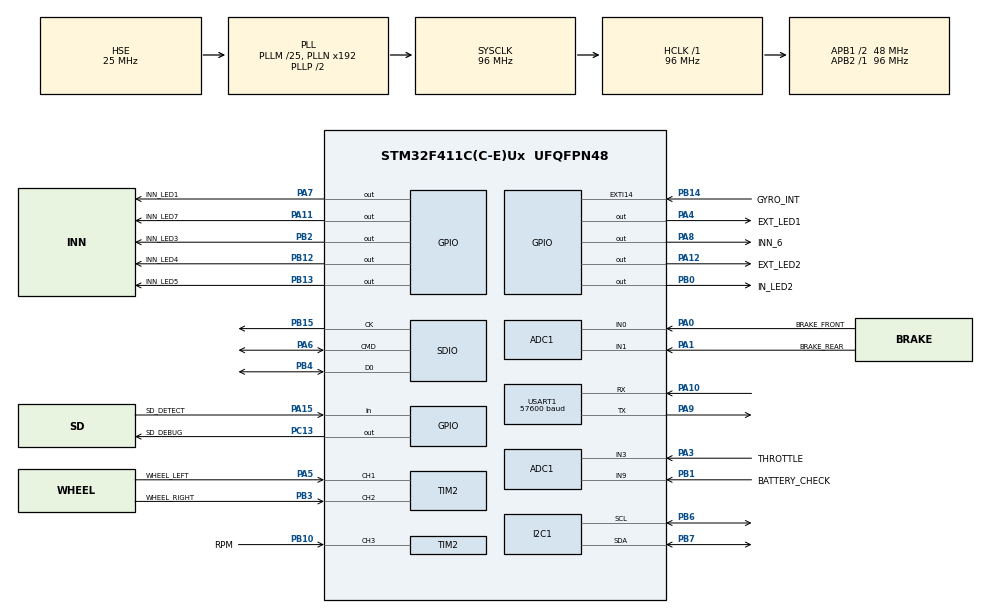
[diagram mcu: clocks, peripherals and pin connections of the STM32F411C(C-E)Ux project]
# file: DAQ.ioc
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ADC1.Channel-0\#ChannelRegularConversion=ADC_CHANNEL_0
ADC1.Channel-1\#ChannelRegularConversion=ADC_CHANNEL_1
ADC1.Channel-2\#ChannelRegularConversion=ADC_CHANNEL_3
ADC1.Channel-3\#ChannelRegularConversion=ADC_CHANNEL_9
ADC1.ContinuousConvMode=ENABLE
ADC1.DMAContinuousRequests=ENABLE
ADC1.EOCSelection=ADC_EOC_SEQ_CONV
ADC1.NbrOfConversion=4
ADC1.NbrOfConversionFlag=1
ADC1.Rank-0\#ChannelRegularConversion=1
ADC1.Rank-1\#ChannelRegularConversion=2
ADC1.Rank-2\#ChannelRegularConversion=3
ADC1.Rank-3\#ChannelRegularConversion=4
ADC1.SamplingTime-0\#ChannelRegularConversion=ADC_SAMPLETIME_144CYCLES
ADC1.SamplingTime-1\#ChannelRegularConversion=ADC_SAMPLETIME_144CYCLES
ADC1.SamplingTime-2\#ChannelRegularConversion=ADC_SAMPLETIME_144CYCLES
ADC1.SamplingTime-3\#ChannelRegularConversion=ADC_SAMPLETIME_144CYCLES
ADC1.ScanConvMode=ENABLE
ADC1.master=1
Dma.ADC1.0.Direction=DMA_PERIPH_TO_MEMORY
Dma.ADC1.0.FIFOMode=DMA_FIFOMODE_DISABLE
Dma.ADC1.0.Instance=DMA2_Stream0
Dma.ADC1.0.MemDataAlignment=DMA_MDATAALIGN_HALFWORD
Dma.ADC1.0.MemInc=DMA_MINC_ENABLE
Dma.ADC1.0.Mode=DMA_CIRCULAR
Dma.ADC1.0.PeriphDataAlignment=DMA_PDATAALIGN_HALFWORD
Dma.ADC1.0.PeriphInc=DMA_PINC_DISABLE
Dma.ADC1.0.Priority=DMA_PRIORITY_MEDIUM
Dma.Request0=ADC1
Dma.Request1=SDIO_RX
Dma.Request2=SDIO_TX
Dma.Request3=USART1_RX
Dma.Request4=USART1_TX
Dma.SDIO_RX.1.Direction=DMA_PERIPH_TO_MEMORY
Dma.SDIO_RX.1.FIFOMode=DMA_FIFOMODE_ENABLE
Dma.SDIO_RX.1.FIFOThreshold=DMA_FIFO_THRESHOLD_FULL
Dma.SDIO_RX.1.Instance=DMA2_Stream3
Dma.SDIO_RX.1.MemBurst=DMA_MBURST_INC4
Dma.SDIO_RX.1.MemDataAlignment=DMA_MDATAALIGN_WORD
Dma.SDIO_RX.1.MemInc=DMA_MINC_ENABLE
Dma.SDIO_RX.1.Mode=DMA_PFCTRL
Dma.SDIO_RX.1.PeriphBurst=DMA_PBURST_INC4
Dma.SDIO_RX.1.PeriphDataAlignment=DMA_PDATAALIGN_WORD
Dma.SDIO_RX.1.PeriphInc=DMA_PINC_DISABLE
Dma.SDIO_RX.1.Priority=DMA_PRIORITY_HIGH
Dma.SDIO_TX.2.Direction=DMA_MEMORY_TO_PERIPH
Dma.SDIO_TX.2.FIFOMode=DMA_FIFOMODE_ENABLE
Dma.SDIO_TX.2.FIFOThreshold=DMA_FIFO_THRESHOLD_FULL
Dma.SDIO_TX.2.Instance=DMA2_Stream6
Dma.SDIO_TX.2.MemBurst=DMA_MBURST_INC4
Dma.SDIO_TX.2.MemDataAlignment=DMA_MDATAALIGN_WORD
Dma.SDIO_TX.2.MemInc=DMA_MINC_ENABLE
Dma.SDIO_TX.2.Mode=DMA_PFCTRL
Dma.SDIO_TX.2.PeriphBurst=DMA_PBURST_INC4
Dma.SDIO_TX.2.PeriphDataAlignment=DMA_PDATAALIGN_WORD
Dma.SDIO_TX.2.PeriphInc=DMA_PINC_DISABLE
Dma.SDIO_TX.2.Priority=DMA_PRIORITY_HIGH
Dma.USART1_RX.3.Direction=DMA_PERIPH_TO_MEMORY
Dma.USART1_RX.3.FIFOMode=DMA_FIFOMODE_DISABLE
Dma.USART1_RX.3.Instance=DMA2_Stream2
Dma.USART1_RX.3.MemDataAlignment=DMA_MDATAALIGN_BYTE
Dma.USART1_RX.3.MemInc=DMA_MINC_ENABLE
Dma.USART1_RX.3.Mode=DMA_NORMAL
Dma.USART1_RX.3.PeriphDataAlignment=DMA_PDATAALIGN_BYTE
Dma.USART1_RX.3.PeriphInc=DMA_PINC_DISABLE
Dma.USART1_RX.3.Priority=DMA_PRIORITY_LOW
Dma.USART1_TX.4.Direction=DMA_MEMORY_TO_PERIPH
Dma.USART1_TX.4.FIFOMode=DMA_FIFOMODE_DISABLE
Dma.USART1_TX.4.Instance=DMA2_Stream7
Dma.USART1_TX.4.MemDataAlignment=DMA_MDATAALIGN_BYTE
Dma.USART1_TX.4.MemInc=DMA_MINC_ENABLE
Dma.USART1_TX.4.Mode=DMA_NORMAL
Dma.USART1_TX.4.PeriphDataAlignment=DMA_PDATAALIGN_BYTE
Dma.USART1_TX.4.PeriphInc=DMA_PINC_DISABLE
Dma.USART1_TX.4.Priority=DMA_PRIORITY_LOW
FATFS._FS_REENTRANT=0
FATFS._USE_FASTSEEK=0
FATFS._USE_LFN=1
FATFS._USE_MKFS=0
FREERTOS.Tasks01=defaultTask,24,128,StartDefaultTask,Default,NULL,Dynamic,NULL,NULL;AcquisitionTask,40,256,StartAcquisitionTask,Default,NULL,Dynamic,NULL,NULL;LoggerTask,24,512,StartLoggerTask,Default,NULL,Dynamic,NULL,NULL;DisplayTask,8,256,StartDisplayTask,Default,NULL,Dynamic,NULL,NULL;InnovationTask,16,256,StartInnovationTask,Default,NULL,Dynamic,NULL,NULL
FREERTOS.configCHECK_FOR_STACK_OVERFLOW=2
FREERTOS.configENABLE_FPU=1
FREERTOS.configUSE_MALLOC_FAILED_HOOK=1
I2C1.GeneralCallMode=I2C_GENERALCALL_DISABLE
I2C1.I2C_Mode=I2C_Standard
Mcu.Family=STM32F4
Mcu.Name=STM32F411C(C-E)Ux
Mcu.Package=UFQFPN48
NVIC.DMA2_Stream0_IRQn=true\:5\:0\:false\:false\:true\:true\:false\:true\:true
NVIC.DMA2_Stream2_IRQn=true\:5\:0\:false\:false\:true\:true\:false\:true\:true
NVIC.DMA2_Stream3_IRQn=true\:5\:0\:false\:false\:true\:true\:false\:true\:true
NVIC.DMA2_Stream6_IRQn=true\:5\:0\:false\:false\:true\:true\:false\:true\:true
NVIC.DMA2_Stream7_IRQn=true\:5\:0\:false\:false\:true\:true\:false\:true\:true
NVIC.EXTI15_10_IRQn=true\:5\:0\:true\:false\:true\:false\:true\:true\:true
NVIC.I2C1_ER_IRQn=true\:5\:0\:false\:false\:true\:true\:true\:true\:true
NVIC.I2C1_EV_IRQn=true\:5\:0\:false\:false\:true\:true\:true\:true\:true
NVIC.PriorityGroup=NVIC_PRIORITYGROUP_4
NVIC.SDIO_IRQn=true\:5\:0\:false\:false\:true\:true\:true\:true\:true
NVIC.TIM1_UP_TIM10_IRQn=true\:15\:0\:false\:false\:true\:false\:false\:true\:true
NVIC.TIM2_IRQn=true\:5\:0\:false\:false\:true\:true\:true\:true\:true
NVIC.TimeBase=TIM1_UP_TIM10_IRQn
NVIC.TimeBaseIP=TIM1
PA0-WKUP.GPIO_Label=BRAKE_FRONT
PA0-WKUP.Signal=ADCx_IN0
PA1.GPIO_Label=BRAKE_REAR
PA1.Signal=ADCx_IN1
PA10.Mode=Asynchronous
PA10.Signal=USART1_RX
PA11.GPIO_Label=INN_LED7
PA11.Signal=GPIO_Output
PA12.GPIO_Label=EXT_LED2
PA12.Signal=GPIO_Output
PA13.Mode=Serial_Wire
PA13.Signal=SYS_JTMS-SWDIO
PA14.Mode=Serial_Wire
PA14.Signal=SYS_JTCK-SWCLK
PA15.GPIO_Label=SD_DETECT
PA15.GPIO_PuPd=GPIO_PULLDOWN
PA15.Signal=GPIO_Input
PA3.GPIO_Label=THROTTLE
PA3.Signal=ADCx_IN3
PA4.GPIO_Label=EXT_LED1
PA4.Signal=GPIO_Output
PA5.GPIO_Label=WHEEL_LEFT
PA5.Signal=S_TIM2_CH1_ETR
PA6.Mode=SD_1_bit
PA6.Signal=SDIO_CMD
PA7.GPIO_Label=INN_LED1
PA7.Signal=GPIO_Output
PA8.GPIO_Label=INN_6
PA8.Signal=GPIO_Output
PA9.Mode=Asynchronous
PA9.Signal=USART1_TX
PB0.GPIO_Label=IN_LED2
PB0.Signal=GPIO_Output
PB1.GPIO_Label=BATTERY_CHECK
PB1.Signal=ADCx_IN9
PB10.GPIO_Label=RPM
PB10.Signal=S_TIM2_CH3
PB12.GPIO_Label=INN_LED4
PB12.Signal=GPIO_Output
PB13.GPIO_Label=INN_LED5
PB13.Signal=GPIO_Output
PB14.GPIO_Label=GYRO_INT
PB14.Signal=GPXTI14
PB15.Mode=SD_1_bit
PB15.Signal=SDIO_CK
PB2.GPIO_Label=INN_LED3
PB2.Signal=GPIO_Output
PB3.GPIO_Label=WHEEL_RIGHT
PB3.Signal=S_TIM2_CH2
PB4.Mode=SD_1_bit
PB4.Signal=SDIO_D0
PB6.Mode=I2C
PB6.Signal=I2C1_SCL
PB7.Mode=I2C
PB7.Signal=I2C1_SDA
PC13-ANTI_TAMP.GPIO_Label=SD_DEBUG
PC13-ANTI_TAMP.Signal=GPIO_Output
PC14-OSC32_IN.Mode=LSE-External-Oscillator
PC14-OSC32_IN.Signal=RCC_OSC32_IN
PC15-OSC32_OUT.Mode=LSE-External-Oscillator
PC15-OSC32_OUT.Signal=RCC_OSC32_OUT
PH0\ -\ OSC_IN.Mode=HSE-External-Oscillator
PH0\ -\ OSC_IN.Signal=RCC_OSC_IN
PH1\ -\ OSC_OUT.Mode=HSE-External-Oscillator
PH1\ -\ OSC_OUT.Signal=RCC_OSC_OUT
ProjectManager.HeapSize=0x1000
ProjectManager.StackSize=0x1000
ProjectManager.TargetToolchain=STM32CubeIDE
RCC.48MHZClocksFreq_Value=48000000
RCC.AHBFreq_Value=96000000
RCC.APB1CLKDivider=RCC_HCLK_DIV2
RCC.APB1Freq_Value=48000000
RCC.APB1TimFreq_Value=96000000
RCC.APB2Freq_Value=96000000
RCC.APB2TimFreq_Value=96000000
RCC.CortexFreq_Value=96000000
RCC.HCLKFreq_Value=96000000
RCC.HSE_VALUE=25000000
RCC.HSI_VALUE=16000000
RCC.PLLM=25
RCC.PLLSourceVirtual=RCC_PLLSOURCE_HSE
RCC.RCC_RTC_Clock_Source=RCC_RTCCLKSOURCE_LSE
RCC.RCC_RTC_Clock_SourceVirtual=RCC_RTCCLKSOURCE_LSE
RCC.SYSCLKFreq_VALUE=96000000
RCC.SYSCLKSource=RCC_SYSCLKSOURCE_PLLCLK
RCC.VCOOutputFreq_Value=192000000
SDIO.ClockDiv=118
SH.ADCx_IN0.0=ADC1_IN0,IN0
SH.ADCx_IN1.0=ADC1_IN1,IN1
SH.ADCx_IN3.0=ADC1_IN3,IN3
SH.ADCx_IN9.0=ADC1_IN9,IN9
SH.S_TIM2_CH1_ETR.0=TIM2_CH1,Input_Capture1_from_TI1
SH.S_TIM2_CH2.0=TIM2_CH2,Input_Capture2_from_TI2
SH.S_TIM2_CH3.0=TIM2_CH3,Input_Capture3_from_TI3
TIM2.Channel-Input_Capture1_from_TI1=TIM_CHANNEL_1
TIM2.Channel-Input_Capture2_from_TI2=TIM_CHANNEL_2
TIM2.Channel-Input_Capture3_from_TI3=TIM_CHANNEL_3
TIM2.ICFilter_CH1=8
TIM2.ICFilter_CH2=8
TIM2.ICFilter_CH3=8
TIM2.ICPolarity_CH1=TIM_INPUTCHANNELPOLARITY_FALLING
TIM2.ICPolarity_CH2=TIM_INPUTCHANNELPOLARITY_FALLING
TIM2.ICPolarity_CH3=TIM_INPUTCHANNELPOLARITY_FALLING
USART1.BaudRate=57600
USART1.VirtualMode=VM_ASYNC
VP_FATFS_VS_SDIO.Mode=SDIO
VP_FREERTOS_VS_CMSIS_V2.Mode=CMSIS_V2
VP_RTC_VS_RTC_Activate.Mode=RTC_Enabled
VP_RTC_VS_RTC_Calendar.Mode=RTC_Calendar
VP_SYS_VS_tim1.Mode=TIM1
VP_TIM2_VS_ClockSourceINT.Mode=Internal
board=custom

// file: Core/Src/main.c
/* USER CODE BEGIN Header */
/**
  ******************************************************************************
  * @file           : main.c
  * @brief          : Main program body
  ******************************************************************************
  * @attention
  *
  * Copyright (c) 2026 STMicroelectronics.
  * All rights reserved.
  *
  * This software is licensed under terms that can be found in the LICENSE file
  * in the root directory of this software component.
  * If no LICENSE file comes with this software, it is provided AS-IS.
  *
  ******************************************************************************
  */
/* USER CODE END Header */
#include "main.h"
#include "cmsis_os.h"
#include "adc.h"
#include "dma.h"
#include "fatfs.h"
#include "i2c.h"
#include "rtc.h"
#include "sdio.h"
#include "tim.h"
#include "usart.h"
#include "gpio.h"

/* USER CODE BEGIN Includes */
#include "shared_data.h"
#include "health.h"
#include "acquisition.h"
#include "logger.h"
#include "display.h"
#include "innovation.h"
/* USER CODE END Includes */

void SystemClock_Config(void);
void MX_FREERTOS_Init(void);

int main(void)
{

  /* MCU Configuration--------------------------------------------------------*/

  /* Reset of all peripherals, Initializes the Flash interface and the Systick. */
  HAL_Init();

  /* Configure the system clock */
  SystemClock_Config();

  /* Initialize all configured peripherals */
  MX_GPIO_Init();
  MX_DMA_Init();
  MX_ADC1_Init();
  MX_I2C1_Init();
  MX_SDIO_SD_Init();
  MX_TIM2_Init();
  MX_USART1_UART_Init();
  MX_FATFS_Init();
  MX_RTC_Init();
  /* USER CODE BEGIN 2 */
  SharedData_Init();
  Health_Init();

  Acquisition_Init();
  Logger_Init();
  Innovation_Init();
  /* USER CODE END 2 */

  /* Init scheduler */
  osKernelInitialize();  /* Call init function for freertos objects (in cmsis_os2.c) */
  MX_FREERTOS_Init();

  /* Start scheduler */
  osKernelStart();

  /* We should never get here as control is now taken by the scheduler */

  /* Infinite loop */
  while (1)
  {

  }
}

void SystemClock_Config(void)
{
  RCC_OscInitTypeDef RCC_OscInitStruct = {0};
  RCC_ClkInitTypeDef RCC_ClkInitStruct = {0};

  /** Configure the main internal regulator output voltage
  */
  __HAL_RCC_PWR_CLK_ENABLE();
  __HAL_PWR_VOLTAGESCALING_CONFIG(PWR_REGULATOR_VOLTAGE_SCALE1);

  /** Initializes the RCC Oscillators according to the specified parameters
  * in the RCC_OscInitTypeDef structure.
  */
  RCC_OscInitStruct.OscillatorType = RCC_OSCILLATORTYPE_HSE|RCC_OSCILLATORTYPE_LSE;
  RCC_OscInitStruct.HSEState = RCC_HSE_ON;
  RCC_OscInitStruct.LSEState = RCC_LSE_ON;
  RCC_OscInitStruct.PLL.PLLState = RCC_PLL_ON;
  RCC_OscInitStruct.PLL.PLLSource = RCC_PLLSOURCE_HSE;
  RCC_OscInitStruct.PLL.PLLM = 25;
  RCC_OscInitStruct.PLL.PLLN = 192;
  RCC_OscInitStruct.PLL.PLLP = RCC_PLLP_DIV2;
  RCC_OscInitStruct.PLL.PLLQ = 4;
  if (HAL_RCC_OscConfig(&RCC_OscInitStruct) != HAL_OK)
  {
    Error_Handler();
  }

  /** Initializes the CPU, AHB and APB buses clocks
  */
  RCC_ClkInitStruct.ClockType = RCC_CLOCKTYPE_HCLK|RCC_CLOCKTYPE_SYSCLK
                              |RCC_CLOCKTYPE_PCLK1|RCC_CLOCKTYPE_PCLK2;
  RCC_ClkInitStruct.SYSCLKSource = RCC_SYSCLKSOURCE_PLLCLK;
  RCC_ClkInitStruct.AHBCLKDivider = RCC_SYSCLK_DIV1;
  RCC_ClkInitStruct.APB1CLKDivider = RCC_HCLK_DIV2;
  RCC_ClkInitStruct.APB2CLKDivider = RCC_HCLK_DIV1;

  if (HAL_RCC_ClockConfig(&RCC_ClkInitStruct, FLASH_LATENCY_3) != HAL_OK)
  {
    Error_Handler();
  }
}

void HAL_TIM_PeriodElapsedCallback(TIM_HandleTypeDef *htim)
{
  if (htim->Instance == TIM1)
  {
    HAL_IncTick();
  }
}

void Error_Handler(void)
{
  __disable_irq();
  while (1)
  {
  }
}

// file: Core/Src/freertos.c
/* USER CODE BEGIN Header */
/**
  ******************************************************************************
  * File Name          : freertos.c
  * Description        : Code for freertos applications
  ******************************************************************************
  * @attention
  *
  * Copyright (c) 2026 STMicroelectronics.
  * All rights reserved.
  *
  * This software is licensed under terms that can be found in the LICENSE file
  * in the root directory of this software component.
  * If no LICENSE file comes with this software, it is provided AS-IS.
  *
  ******************************************************************************
  */
/* USER CODE END Header */

#include "FreeRTOS.h"
#include "task.h"
#include "main.h"
#include "cmsis_os.h"

/* USER CODE BEGIN Includes */
#include "app_config.h"
#include "health.h"
#include "acquisition.h"
#include "logger.h"
#include "display.h"
#include "innovation.h"
#include "i2c_manager.h"
/* USER CODE END Includes */

/* Definitions for defaultTask */
osThreadId_t defaultTaskHandle;
const osThreadAttr_t defaultTask_attributes = {
  .name = "defaultTask",
  .stack_size = 128 * 4,
  .priority = (osPriority_t) osPriorityNormal,
};
/* Definitions for AcquisitionTask */
osThreadId_t AcquisitionTaskHandle;
const osThreadAttr_t AcquisitionTask_attributes = {
  .name = "AcquisitionTask",
  .stack_size = 256 * 4,
  .priority = (osPriority_t) osPriorityHigh,
};
/* Definitions for LoggerTask */
osThreadId_t LoggerTaskHandle;
const osThreadAttr_t LoggerTask_attributes = {
  .name = "LoggerTask",
  .stack_size = 512 * 4,
  .priority = (osPriority_t) osPriorityNormal,
};
/* Definitions for DisplayTask */
osThreadId_t DisplayTaskHandle;
const osThreadAttr_t DisplayTask_attributes = {
  .name = "DisplayTask",
  .stack_size = 256 * 4,
  .priority = (osPriority_t) osPriorityLow,
};
/* Definitions for InnovationTask */
osThreadId_t InnovationTaskHandle;
const osThreadAttr_t InnovationTask_attributes = {
  .name = "InnovationTask",
  .stack_size = 256 * 4,
  .priority = (osPriority_t) osPriorityBelowNormal,
};

void StartDefaultTask(void *argument);
void StartAcquisitionTask(void *argument);
void StartLoggerTask(void *argument);
void StartDisplayTask(void *argument);
void StartInnovationTask(void *argument);

void MX_FREERTOS_Init(void); /* (MISRA C 2004 rule 8.1) */

/* Hook prototypes */
void vApplicationStackOverflowHook(xTaskHandle xTask, signed char *pcTaskName);
void vApplicationMallocFailedHook(void);

/* USER CODE BEGIN 4 */
void vApplicationStackOverflowHook(xTaskHandle xTask, signed char *pcTaskName)
{
   /* Run time stack overflow checking is performed if
   configCHECK_FOR_STACK_OVERFLOW is defined to 1 or 2. This hook function is
   called if a stack overflow is detected. */
}
/* USER CODE END 4 */

/* USER CODE BEGIN 5 */
void vApplicationMallocFailedHook(void)
{
   /* vApplicationMallocFailedHook() will only be called if
   configUSE_MALLOC_FAILED_HOOK is set to 1 in FreeRTOSConfig.h. It is a hook
   function that will get called if a call to pvPortMalloc() fails.
   pvPortMalloc() is called internally by the kernel whenever a task, queue,
   timer or semaphore is created. It is also called by various parts of the
   demo application. If heap_1.c or heap_2.c are used, then the size of the
   heap available to pvPortMalloc() is defined by configTOTAL_HEAP_SIZE in
   FreeRTOSConfig.h, and the xPortGetFreeHeapSize() API function can be used
   to query the size of free heap space that remains (although it does not
   provide information on how the remaining heap might be fragmented). */
}
/* USER CODE END 5 */

void MX_FREERTOS_Init(void) {
  /* USER CODE BEGIN Init */
	I2C_Manager_Init();
  /* USER CODE END Init */

  /* Create the thread(s) */
  /* creation of defaultTask */
  defaultTaskHandle = osThreadNew(StartDefaultTask, NULL, &defaultTask_attributes);

  /* creation of AcquisitionTask */
  AcquisitionTaskHandle = osThreadNew(StartAcquisitionTask, NULL, &AcquisitionTask_attributes);

  /* creation of LoggerTask */
  LoggerTaskHandle = osThreadNew(StartLoggerTask, NULL, &LoggerTask_attributes);

  /* creation of DisplayTask */
  DisplayTaskHandle = osThreadNew(StartDisplayTask, NULL, &DisplayTask_attributes);

  /* creation of InnovationTask */
  InnovationTaskHandle = osThreadNew(StartInnovationTask, NULL, &InnovationTask_attributes);

}

void StartDefaultTask(void *argument)
{
  /* USER CODE BEGIN StartDefaultTask */
  /* Infinite loop */
  for(;;)
  {
	  Health_Task();
	  osDelay(HEALTH_TASK_PERIOD_MS);
  }
  /* USER CODE END StartDefaultTask */
}

void StartAcquisitionTask(void *argument)
{
  /* USER CODE BEGIN StartAcquisitionTask */
  /* Infinite loop */
  for(;;)
  {
	  Acquisition_Task();
	  osDelay(ACQUISITION_TASK_PERIOD_MS);
  }
  /* USER CODE END StartAcquisitionTask */
}

void StartLoggerTask(void *argument)
{
  /* USER CODE BEGIN StartLoggerTask */
  /* Infinite loop */
  for(;;)
  {
	  Logger_Task();
	  osDelay(LOGGER_TASK_PERIOD_MS);
  }
  /* USER CODE END StartLoggerTask */
}

void StartDisplayTask(void *argument)
{
  /* USER CODE BEGIN StartDisplayTask */
	Display_Init();
  /* Infinite loop */
  for(;;)
  {
	  Display_Task();
	  osDelay(DISPLAY_TASK_PERIOD_MS);
  }
  /* USER CODE END StartDisplayTask */
}

void StartInnovationTask(void *argument)
{
  /* USER CODE BEGIN StartInnovationTask */
  /* Infinite loop */
  for(;;)
  {
	  Innovation_Task();
	  osDelay(INNOVATION_TASK_PERIOD_MS);
  }
  /* USER CODE END StartInnovationTask */
}
